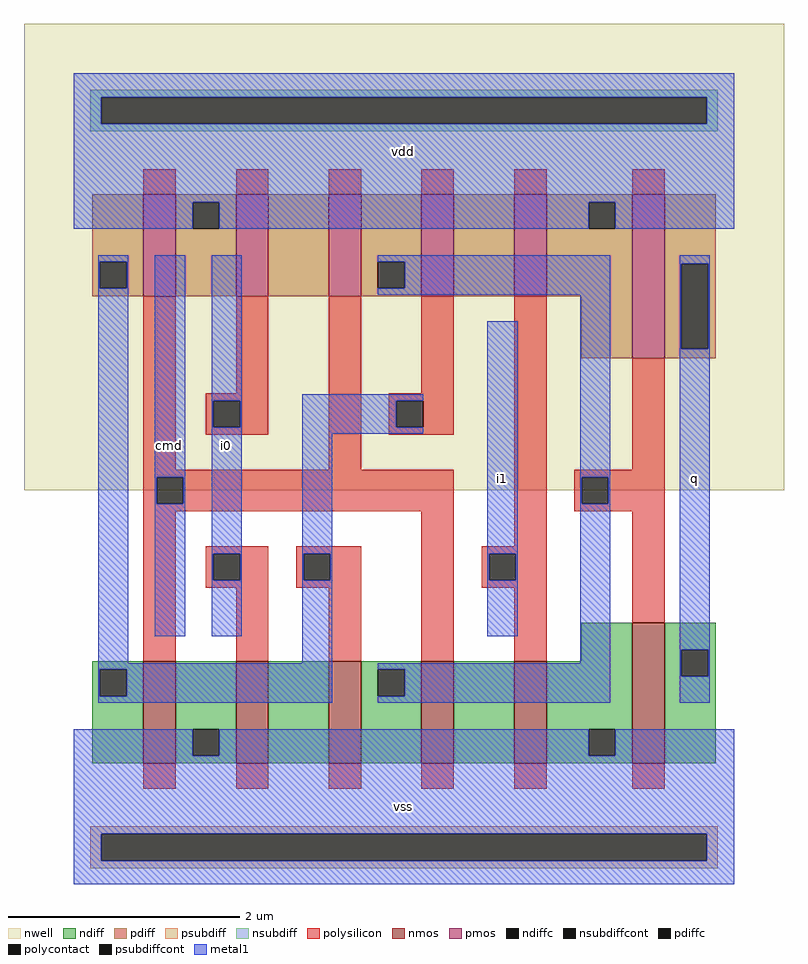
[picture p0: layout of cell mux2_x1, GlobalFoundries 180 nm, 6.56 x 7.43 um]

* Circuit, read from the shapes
.subckt mux2_x1 vdd vss cmd i0 i1 q
XM1 vss cmd n1 vss nfet_03v3 w=0.88u l=0.28u
XM2 n2 i0 vss vss nfet_03v3 w=0.88u l=0.28u
XM3 n3 n1 n2 vss nfet_03v3 w=0.88u l=0.28u
XM4 n4 cmd n3 vss nfet_03v3 w=0.88u l=0.28u
XM5 vss i1 n4 vss nfet_03v3 w=0.88u l=0.28u
XM6 q n3 vss vss nfet_03v3 w=1.215u l=0.28u
XM7 vdd cmd n1 vdd pfet_03v3 w=0.88u l=0.28u
XM8 n5 i0 vdd vdd pfet_03v3 w=0.88u l=0.28u
XM9 n3 cmd n5 vdd pfet_03v3 w=0.88u l=0.28u
XM10 n6 n1 n3 vdd pfet_03v3 w=0.88u l=0.28u
XM11 vdd i1 n6 vdd pfet_03v3 w=0.88u l=0.28u
XM12 q n3 vdd vdd pfet_03v3 w=1.415u l=0.28u
.ends

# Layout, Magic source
magic
tech gf180mcuD
magscale 1 10
<< nwell >>
rect -86 680 1226 1486
<< nmos >>
rect 120 209 176 385
rect 280 209 336 385
rect 440 209 496 385
rect 600 209 656 385
rect 760 209 816 385
rect 964 209 1020 452
<< pmos >>
rect 120 1015 176 1191
rect 280 1015 336 1191
rect 440 1015 496 1191
rect 600 1015 656 1191
rect 760 1015 816 1191
rect 964 908 1020 1191
<< ndiff >>
rect 876 385 964 452
rect 32 371 120 385
rect 32 325 45 371
rect 91 325 120 371
rect 32 209 120 325
rect 176 268 280 385
rect 176 222 205 268
rect 251 222 280 268
rect 176 209 280 222
rect 336 209 440 385
rect 496 371 600 385
rect 496 325 525 371
rect 571 325 600 371
rect 496 209 600 325
rect 656 209 760 385
rect 816 268 964 385
rect 816 222 889 268
rect 935 222 964 268
rect 816 209 964 222
rect 1020 405 1108 452
rect 1020 359 1049 405
rect 1095 359 1108 405
rect 1020 209 1108 359
<< pdiff >>
rect 32 1075 120 1191
rect 32 1029 45 1075
rect 91 1029 120 1075
rect 32 1015 120 1029
rect 176 1178 280 1191
rect 176 1132 205 1178
rect 251 1132 280 1178
rect 176 1015 280 1132
rect 336 1015 440 1191
rect 496 1075 600 1191
rect 496 1029 525 1075
rect 571 1029 600 1075
rect 496 1015 600 1029
rect 656 1015 760 1191
rect 816 1178 964 1191
rect 816 1132 889 1178
rect 935 1132 964 1178
rect 816 1015 964 1132
rect 876 908 964 1015
rect 1020 1071 1108 1191
rect 1020 925 1049 1071
rect 1095 925 1108 1071
rect 1020 908 1108 925
<< ndiffc >>
rect 45 325 91 371
rect 205 222 251 268
rect 525 325 571 371
rect 889 222 935 268
rect 1049 359 1095 405
<< pdiffc >>
rect 45 1029 91 1075
rect 205 1132 251 1178
rect 525 1029 571 1075
rect 889 1132 935 1178
rect 1049 925 1095 1071
<< psubdiff >>
rect 28 87 1112 100
rect 28 41 47 87
rect 1093 41 1112 87
rect 28 28 1112 41
<< nsubdiff >>
rect 28 1359 1112 1372
rect 28 1313 47 1359
rect 1093 1313 1112 1359
rect 28 1300 1112 1313
<< psubdiffcont >>
rect 47 41 1093 87
<< nsubdiffcont >>
rect 47 1313 1093 1359
<< polysilicon >>
rect 120 1191 176 1235
rect 280 1191 336 1235
rect 440 1191 496 1235
rect 600 1191 656 1235
rect 760 1191 816 1235
rect 964 1191 1020 1235
rect 120 716 176 1015
rect 280 848 336 1015
rect 228 835 336 848
rect 228 789 241 835
rect 287 789 336 835
rect 228 776 336 789
rect 440 716 496 1015
rect 600 848 656 1015
rect 544 835 656 848
rect 544 789 557 835
rect 603 789 656 835
rect 544 776 656 789
rect 120 703 656 716
rect 120 657 143 703
rect 189 657 656 703
rect 120 644 656 657
rect 120 385 176 644
rect 228 571 336 584
rect 228 525 241 571
rect 287 525 336 571
rect 228 512 336 525
rect 384 571 496 584
rect 384 525 397 571
rect 443 525 496 571
rect 384 512 496 525
rect 280 385 336 512
rect 440 385 496 512
rect 600 385 656 644
rect 760 584 816 1015
rect 964 716 1020 908
rect 864 703 1020 716
rect 864 657 877 703
rect 923 657 1020 703
rect 864 644 1020 657
rect 704 571 816 584
rect 704 525 717 571
rect 763 525 816 571
rect 704 512 816 525
rect 760 385 816 512
rect 964 452 1020 644
rect 120 165 176 209
rect 280 165 336 209
rect 440 165 496 209
rect 600 165 656 209
rect 760 165 816 209
rect 964 165 1020 209
<< polycontact >>
rect 241 789 287 835
rect 557 789 603 835
rect 143 657 189 703
rect 241 525 287 571
rect 397 525 443 571
rect 877 657 923 703
rect 717 525 763 571
<< metal1 >>
rect 0 1359 1140 1400
rect 0 1313 47 1359
rect 1093 1313 1140 1359
rect 0 1178 1140 1313
rect 0 1132 205 1178
rect 251 1132 889 1178
rect 935 1132 1140 1178
rect 42 1075 94 1086
rect 42 1029 45 1075
rect 91 1029 94 1075
rect 42 382 94 1029
rect 140 703 192 1086
rect 140 657 143 703
rect 189 657 192 703
rect 140 428 192 657
rect 238 835 290 1086
rect 525 1075 926 1086
rect 571 1029 926 1075
rect 525 1018 926 1029
rect 238 789 241 835
rect 287 789 290 835
rect 238 571 290 789
rect 238 525 241 571
rect 287 525 290 571
rect 238 428 290 525
rect 394 835 603 846
rect 394 789 557 835
rect 394 778 603 789
rect 394 571 446 778
rect 394 525 397 571
rect 443 525 446 571
rect 394 382 446 525
rect 714 571 766 972
rect 714 525 717 571
rect 763 525 766 571
rect 714 428 766 525
rect 874 703 926 1018
rect 874 657 877 703
rect 923 657 926 703
rect 874 382 926 657
rect 42 371 446 382
rect 42 325 45 371
rect 91 325 446 371
rect 42 314 446 325
rect 525 371 926 382
rect 571 325 926 371
rect 525 314 926 325
rect 1046 1071 1098 1086
rect 1046 925 1049 1071
rect 1095 925 1098 1071
rect 1046 405 1098 925
rect 1046 359 1049 405
rect 1095 359 1098 405
rect 1046 314 1098 359
rect 0 222 205 268
rect 251 222 889 268
rect 935 222 1140 268
rect 0 87 1140 222
rect 0 41 47 87
rect 1093 41 1140 87
rect 0 0 1140 41
<< labels >>
rlabel metal1 s 0 1132 1140 1400 4 vdd
port 3 nsew
rlabel metal1 s 0 0 1140 268 4 vss
port 5 nsew
rlabel metal1 s 140 428 192 1086 4 cmd
port 7 nsew
rlabel metal1 s 238 428 290 1086 4 i0
port 9 nsew
rlabel metal1 s 714 428 766 972 4 i1
port 11 nsew
rlabel metal1 s 1046 314 1098 1086 4 q
port 13 nsew
<< end >>
